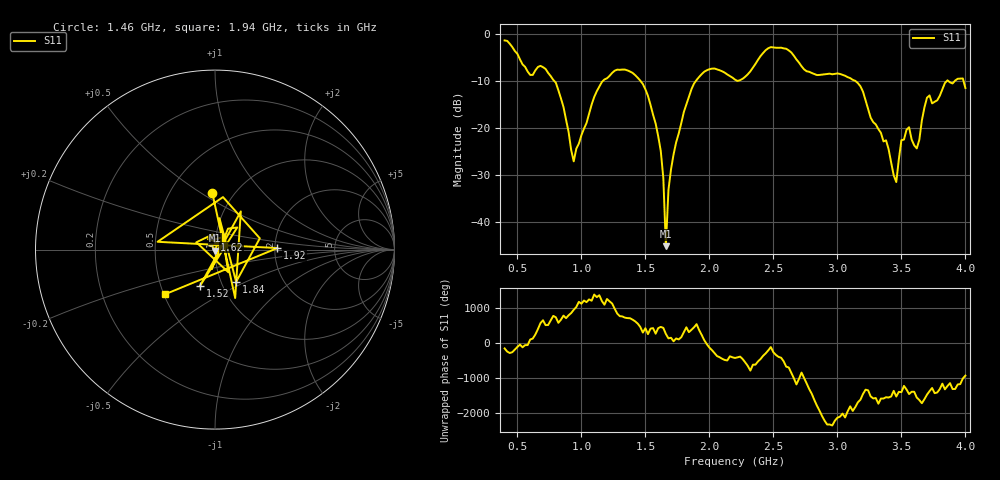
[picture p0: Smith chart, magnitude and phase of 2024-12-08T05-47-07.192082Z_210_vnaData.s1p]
!Created with skrf (http://scikit-rf.org).
# Hz S RI R 50.0
!freq ReS11 ImS11
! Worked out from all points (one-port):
!   181 points, 400 MHz to 4 GHz, reference 50 ohm
!   lowest |S11| = -45.2 dB at 1.66 GHz (marker M1), VSWR 1.01, Z = 49.8 - j0.515 ohm
!   |S11| at or under -10 dB: 786.9 MHz to 1.169 GHz (382.3 MHz wide, 39.1 % of centre); 1.461 GHz to 1.895 GHz (434.2 MHz wide, 25.9 % of centre); 3.139 GHz to 3.856 GHz (717.4 MHz wide, 20.5 % of centre) (the widest 3 of 6)
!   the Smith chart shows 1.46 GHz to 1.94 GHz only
!   S11 on the Smith chart (normalised r, x): 1.46 GHz: 0.79, +0.56; 1.52 GHz: 0.78, -0.33; 1.62 GHz: 0.99, +0.11; 1.84 GHz: 1.18, -0.44; 1.92 GHz: 2.07, +0.04; 1.94 GHz: 0.51, -0.29
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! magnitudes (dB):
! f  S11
! 400 MHz  -1.4
! 600 MHz  -8.8
! 720 MHz  -7.5
! 860 MHz  -15.6
! 940 MHz  -27.2
! 1.12 GHz  -12.2
! 1.3 GHz  -7.7
! 1.46 GHz  -10.0
! 1.52 GHz  -13.2
! 1.62 GHz  -24.9
! 1.64 GHz  -30.7
! 1.66 GHz  -45.2
! 1.68 GHz  -33.3
! 1.76 GHz  -21.3
! 1.84 GHz  -13.4
! 1.92 GHz  -9.2
! 1.94 GHz  -8.6
! 2.2 GHz  -9.7
! 2.48 GHz  -2.8
! 2.66 GHz  -4.7
! 3.1 GHz  -9.4
! 3.38 GHz  -22.7
! 3.46 GHz  -31.6
! 3.5 GHz  -22.7
! 3.56 GHz  -19.9
! 3.62 GHz  -24.4
! 3.7 GHz  -13.6
! 4 GHz  -11.5
